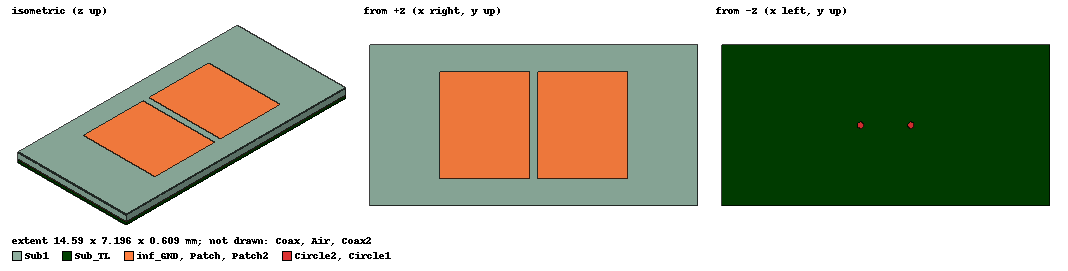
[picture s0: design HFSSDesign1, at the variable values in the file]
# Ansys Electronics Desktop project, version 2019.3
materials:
  vacuum: permittivity=1
  Rogers RT/duroid 5880 (tm): permittivity=2.2 dielectric_loss_tangent=0.0009
  pec: conductivity=1e+30
  Rogers RO4003 (tm): permittivity=3.55 dielectric_loss_tangent=0.0027

design HFSSDesign1 (HFSS, DrivenModal, model units mm)
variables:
  Lp = 3.9713655mm  # optimise 1mm..6mm
  Wp = 4.7601986mm  # optimise 2mm..8mm
  hs = 0.406mm
  Ws = Wp+6*hs
  Ls = 6*hs+Lp*2+4.21mm
  xsub = -Ls/2
  ysub = -Ws/2
  xfeed = 0.93mm
  dp = 0.38203826mm
  rcoax = 0.16mm
  hcoax = 0.203mm
  rprope = 0.07mm
  Lair = 0.01+Ls
  Wair = 0.01+Ws
  xair = Lair/2
  yair = Wair/2
  hair = 5mm
  yfeed = 0mm
  xp = dp/2
  yp = -Wp/2
  Wp2 = 12*hs+4.7*2
  hgnd = -0.032mm
  X_TL_1 = 2.288307mm
  Y_TL_1 = 0.276146mm
  Y_TL_vertical = 3.105225mm
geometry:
  Sub1 [Rogers RO4003 (tm)] = box(corner=(xsub, ysub, 0mm), size=(Ls, Ws, hs))
  Patch [Rogers RT/duroid 5880 (tm)] = rectangle(corner=(xp, yp, hs), x_size=Lp, y_size=Wp)
  Coax [vacuum] = cylinder(axis=Z, base_centre=(xp+xfeed, yfeed, 0mm), radius=rcoax, height=-hcoax)
  Coax_Pin [pec] = cylinder(axis=Z, base_centre=(xp+xfeed, yfeed, 0mm), radius=rprope, height=-hcoax)
  Prope [pec] = cylinder(axis=Z, base_centre=(xp+xfeed, yfeed, 0mm), radius=rprope, height=hs)
  Air [vacuum] = box(corner=(-xair, -yair, 0), size=(Lair, Wair, hair))
  Patch2 = rectangle(corner=(xp-Lp-dp, yp, hs), x_size=Lp, y_size=Wp)
  Coax2 [vacuum] = cylinder(axis=Z, base_centre=(-(xp+xfeed), yfeed, 0mm), radius=rcoax, height=-hcoax)
  Coax_Pin2 [pec] = cylinder(axis=Z, base_centre=(-(xp+xfeed), yfeed, 0mm), radius=rprope, height=-hcoax)
  Prope2 [pec] = cylinder(axis=Z, base_centre=(-(xp+xfeed), yfeed, 0mm), radius=rprope, height=hs)
  inf_GND [pec] = box(corner=(xsub, ysub, 0mm), size=(Ls, Ws, hgnd))
  Cylinder_cut_2 = cylinder(axis=Z, base_centre=(-(xp+xfeed), yfeed, 0), radius=rcoax, height=hgnd)
  Cylinder_cut_1 = cylinder(axis=Z, base_centre=(xp+xfeed, yfeed, 0), radius=rcoax, height=hgnd)
  inf_GND.subtract(Cylinder_cut_1)
  inf_GND.subtract(Cylinder_cut_2)
  Sub_TL [Rogers RO4003 (tm)] = box(corner=(xsub, ysub, 0mm), size=(Ls, Ws, -0.203mm))
  Circle1 = circle(normal=Z, centre=(-(xp+xfeed), 0mm, -0.203mm), radius=0.14mm)
  Circle2 = circle(normal=Z, centre=(xfeed+xp, 0mm, -0.203mm), radius=0.14422205mm)
  group Input_feed1 = Coax, Coax_Pin, Prope
  group Input_feed2 = Coax2, Coax_Pin2, Prope2
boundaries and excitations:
  PerfE_Patch: Perfect E Objects=Patch
  Rad1: Radiation Faces=Air.face(+x, +y, -y, -x, +z)
  PerfE1: Perfect E Objects=Patch2
  1: Wave Port Objects=Circle1 NumModes=1 Modes{Mode1{CharImp=Zpi}}
  2: Wave Port Objects=Circle2 NumModes=1 Modes{Mode1{CharImp=Zpi}}
  reference conductors: inf_GND
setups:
  Setup1: HfssDriven Frequency=20GHz MaxDeltaS=0.02 MaximumPasses=18 MinimumPasses=1 MinimumConvergedPasses=1 PercentRefinement=30 BasisOrder=1 PortAccuracy=2
    sweep Sweep: 17GHz to 25GHz step 0.1GHz; Type=Fast SaveFields SaveRadFields GenerateFieldsForAllFreqs
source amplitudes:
  1:1: 1W 0deg
  2:1: 0W 0deg
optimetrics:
  OptimizationSetup1: Optimization Optimizer="Quasi Newton" AnalysisStopOptions{StopForNumIteration MaxNumIteration=1000 MinNumIteration=10} CostFuncNormType=L2 Acceptable_Cost=0 Noise=0.0001 UpdateDesignWhenDone
    vary Lp: Min=1mm Max=6mm MinStep=0.0395mm MaxStep=0.395mm MinFocus=1mm MaxFocus=6mm start=3.95mm
    vary Wp: Min=2mm Max=8mm MinStep=0.047mm MaxStep=0.47mm MinFocus=2mm MaxFocus=8mm start=4.7mm
    goal mag(Z(1,1)) >= 20 weight 1 on Setup1 : Sweep at Freq 20GHz
    goal dB(S(1,1)) <= -15 weight 1 on Setup1 : Sweep at Freq 20GHz
    goal mag(Z(1,1)) <= 50 weight 1 on Setup1 : Sweep at Freq 20GHz
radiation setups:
  e_plane: Infinite Sphere Theta=-180deg..180deg step 2deg Phi=0deg..0deg step 1deg
  h_plane: Infinite Sphere Theta=-180deg..180deg step 2deg Phi=90deg..90deg step 1deg
  3d: Infinite Sphere Theta=-180deg..180deg step 2deg Phi=0deg..360deg step 2deg
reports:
  Eradation_pattern: abs(rETotal) vs Theta on Setup1 : LastAdaptive, e_plane [Phi=all Freq=20GHz]
  Hradation_pattern: abs(rETotal) vs Theta on Setup1 : LastAdaptive, h_plane [Phi=all Freq=20GHz]
  Co_X_graph: dB10normalize(GainPhi), dB10normalize(GainTheta) vs Theta on Setup1 : LastAdaptive, e_plane [Phi=0deg Freq=20GHz]
  Gain Plot 1: GainTotal vs Theta on Setup1 : LastAdaptive, e_plane [Phi=all Freq=20GHz dp=all]
  Port Zo Plot 1: mag(Zo(1)) vs Freq on Setup1 : Sweep; markers MX1 at x=2.0001284e+10
  VSWR Plot 1: VSWR(1) vs Freq on Setup1 : Sweep; markers m1 at 20GHz
  S Parameter Plot 1: dB(S(1,1)) vs Freq on Setup1 : Sweep; markers m1 at 20GHz, MX1 at x=2.0011299e+10
  Z Parameter Plot 1: mag(Z(1,1)) vs Freq on Setup1 : Sweep; markers MX1 at x=2.000458e+10
  Gain Plot 2: mag(GainTotal) vs Phi, Theta on Setup1 : LastAdaptive, 3d [Freq=20GHz]
  Z Parameter Plot 2: mag(Z(1,1)) vs Freq on Setup1 : Sweep [Wp=all]; markers MX1 at x=2.0004682e+10
